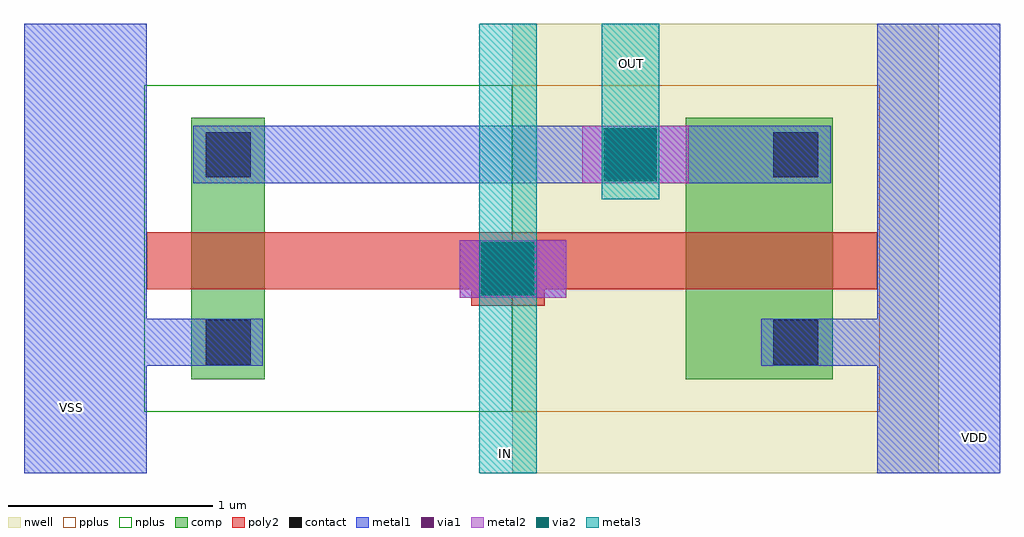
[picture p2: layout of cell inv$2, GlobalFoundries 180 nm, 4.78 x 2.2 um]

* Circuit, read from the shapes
.subckt inv$2 IN OUT VDD VSS
XM1 OUT IN VSS VSUBS nfet_03v3 w=0.36u l=0.28u
XM2 OUT IN VDD n1 pfet_03v3 w=0.72u l=0.28u
.ends

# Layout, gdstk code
import gdstk
lib = gdstk.Library(unit=1e-6, precision=5e-09)
def R(c, l, rs):  # rectangles x0, y0, x1, y1
    for r in rs: c.add(gdstk.rectangle(r[:2], r[2:], *l))
nwell = (21, 0)
comp = (22, 0)
poly2 = (30, 0)
pplus = (31, 0)
nplus = (32, 0)
contact = (33, 0)
metal1 = (34, 0)
via1 = (35, 0)
metal2 = (36, 0)
via2 = (38, 0)
metal3 = (42, 0)

inv_2 = lib.new_cell('inv$2')
R(inv_2, nwell, [(-3.16,9.44,-1.07,11.64)])
R(inv_2, comp, [(-4.73,9.9,-4.37,11.18), (-2.31,9.9,-1.59,11.18)])
R(inv_2, poly2, [(-3.36,10.26,-3,10.62), (-4.95,10.34,-1.37,10.62)])
R(inv_2, pplus, [(-3.16,9.74,-1.36,11.34)])
R(inv_2, nplus, [(-4.96,9.74,-3.16,11.34)])
R(inv_2, contact, [(-4.66,9.97,-4.44,10.19), (-1.88,9.97,-1.66,10.19), (-3.29,10.33,-3.07,10.55), (-4.66,10.89,-4.44,11.11), (-1.88,10.89,-1.66,11.11)])
R(inv_2, metal1, [(-5.55,9.44,-4.95,11.64), (-1.37,9.44,-0.77,11.64), (-4.95,9.965,-4.38,10.195), (-1.94,9.965,-1.37,10.195), (-3.415,10.3,-2.895,10.58), (-4.72,10.86,-1.6,11.14)])
R(inv_2, via1, [(-3.31,10.31,-3.05,10.57), (-2.71,10.87,-2.45,11.13)])
R(inv_2, metal2, [(-3.415,10.3,-2.895,10.58), (-2.815,10.86,-2.295,11.14)])
R(inv_2, via2, [(-3.31,10.31,-3.05,10.57), (-2.71,10.87,-2.45,11.13)])
R(inv_2, metal3, [(-3.32,9.44,-3.04,11.64), (-2.72,10.78,-2.44,11.64)])
inv_2.add(gdstk.Label('VDD', (-0.895,9.615), layer=34, texttype=10))
inv_2.add(gdstk.Label('VSS', (-5.315,9.76), layer=34, texttype=10))
inv_2.add(gdstk.Label('IN', (-3.19,9.535), layer=42, texttype=10))
inv_2.add(gdstk.Label('OUT', (-2.575,11.445), layer=42, texttype=10))

lib.write_gds('inv_2.gds')
